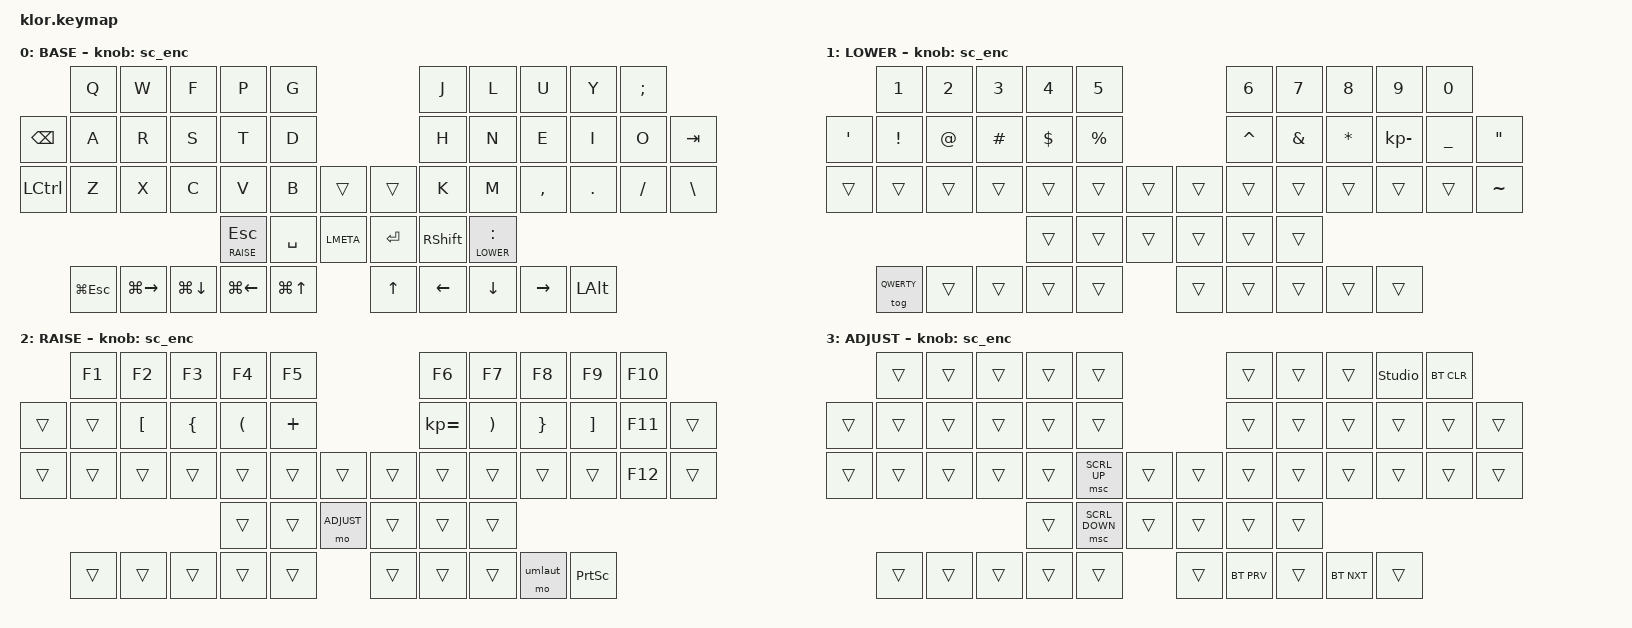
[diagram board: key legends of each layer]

//                               █         █    █            ▄▄▄▀▀▀▀▀▀▄▄▄        █▀▀▀▀▀▀▀▀▀▀█
//                               █        █     █          ▄▀            ▀▄      █          █
//                               █       █      █        ▄▀                ▀▄    █          █
//                               █      █       █        █                  █    █          █
//                               █     █        █       █                    █   █          █
//                               █    █         █       █                    █   █▄▄▄▄▄▄▄▄▄▄█
//                               █   █ █        █       █                    █   █      █
//                               █  █   █       █        █                  █    █       █
//                               █ █     █      █        ▀▄                ▄▀    █        █
//                               ██       █     █          ▀▄            ▄▀      █         █
//                               █         █    █▄▄▄▄▄▄▄▄    ▀▀▀▄▄▄▄▄▄▀▀▀        █          █
//
// ▄▄▄▄▄▄▄▄▄▄▄▄▄▄▄▄▄▄▄▄▄▄▄▄▄▄▄▄▄▄▄▄▄▄▄▄▄▄▄▄▄▄▄▄▄▄▄▄▄▄▄▄▄▄▄▄▄▄▄▄▄▄▄▄▄▄▄▄▄▄▄▄▄▄▄▄▄▄▄▄▄▄▄▄▄▄▄▄▄▄▄▄▄▄▄▄▄▄▄▄▄▄▄▄▄▄▄▄▄▄▄▄▄▄▄▄▄▄▄▄▄▄▄▄▄
       
#include <behaviors.dtsi>
#include <dt-bindings/zmk/keys.h>
#include <dt-bindings/zmk/bt.h>
#include <dt-bindings/zmk/outputs.h>
#include <dt-bindings/zmk/ext_power.h>
#include <dt-bindings/zmk/rgb.h>
#define ZMK_POINTING_DEFAULT_SCRL_VAL 15 // default is 10
#include <dt-bindings/zmk/pointing.h>


#define BASE   0
#define LOWER  1
#define RAISE  2
#define ADJUST 3
#define QWERTY 4

// remove mouse scroll speed rampup
&msc {
    time-to-max-speed-ms = <0>;
};

/ {
    behaviors {
        /* hm: homerow_mods { */
        /*     compatible = "zmk,behavior-hold-tap"; */
        /*     label = "HOMEROW_MODS"; */
        /*     #binding-cells = <2>; */
        /*     tapping-term-ms = <150>; */
        /*     quick_tap_ms = <0>; */
        /*     flavor = "tap-preferred"; */
        /*     bindings = <&kp>, <&kp>; */
        /* }; */
        sc_enc: scroll_encoder {
            compatible = "zmk,behavior-sensor-rotate";
            #sensor-binding-cells = <0>;
            bindings = <&msc SCRL_DOWN>, <&msc SCRL_UP>;
            tap-ms = <10>
        };

    };

     combos {
            compatible = "zmk,combos";
            combo_esc {
                timeout-ms = <50>;
                key-positions = <0 1>;
                bindings = <&kp ESC>;
            };
    };


        keymap {
                compatible = "zmk,keymap";
// ▄▄▄▄▄▄▄▄▄▄▄▄▄▄▄▄▄▄▄▄▄▄▄▄▄▄▄▄▄▄▄▄▄▄▄▄▄▄▄▄▄▄▄▄▄▄▄▄▄▄▄▄▄▄▄▄▄▄▄▄▄▄▄▄▄▄▄▄▄▄▄▄▄▄▄▄▄▄▄▄▄▄▄▄▄▄▄▄▄▄▄▄▄▄▄▄▄▄▄▄▄▄▄▄▄▄▄▄▄▄▄▄▄▄▄▄▄▄▄▄▄▄▄▄▄▄▄▄▄▄▄▄▄▄▄▄▄▄▄▄▄▄


                base_layer {
// ┌───────────────────────────────────────────────────────────┐
label= "BASE"                                                  ;
// └───────────────────────────────────────────────────────────┘
/*           ┌─────────┬─────────┬─────────┬─────────┬─────────┐                    ┌─────────┬─────────┬─────────┬─────────┬─────────┐
             │    Q    │    W    │    F    │    P    │    G    │                    │    J    │    L    │    U    │    Y    │    ;    │
   ┌─────────┼─────────┼─────────┼─────────┼─────────┼─────────┤                    ├─────────┼─────────┼─────────┼─────────┼─────────┼─────────┐
   │   BSPC  │    A    │    R    │    S    │    T    │    D    │                    │    H    │    N    │    E    │    I    │    O    │   TAB   │
   ├─────────┼─────────┼─────────┼─────────┼─────────┼─────────┤╭────────╮╭────────╮├─────────┼─────────┼─────────┼─────────┼─────────┼─────────┤
   │   CTRL  │    Z    │    X    │    C    │    V    │    B    ││        ││        ││    K    │    M    │    ,    │    .    │    /    │    \    │
   └─────────┴─────────┴─────────┴─────────┼─────────┼─────────┼╰────────╯╰────────╯┼─────────┼─────────┼─────────┴─────────┴─────────┴─────────┘
                                           │ESC;RAISE│  SPACE  │  LGUI   ││ RETURN  │  RSHIFT │ :;LOWER │
             ┌─────────┬─────────┬─────────┼─────────┼─────────┼─────────┘└─────────┼─────────┼─────────┼─────────┬─────────┬─────────┐
             │         │  LG+⮕   │  LG+⬇   │  LG+⬅   │  LG+⬆   │                    │  RG+⬆   │  RG+⬅   │  RG+⬇   │  RG+⮕   │  LALT   │
             └─────────┴─────────┴─────────┴─────────┴─────────┘                    └─────────┴─────────┴─────────┴─────────┴─────────┘*/
 bindings = <
 //╷         ╷         ╷         ╷         ╷         ╷         ╷         ╷╷         ╷         ╷         ╷         ╷         ╷         ╷         ╷
              &kp Q     &kp W     &kp F     &kp P     &kp G                          &kp J     &kp L     &kp U     &kp Y     &kp SEMI
    &kp BSPC  &kp A     &kp R     &kp S     &kp T     &kp D                          &kp H     &kp N     &kp E     &kp I     &kp O     &kp TAB
    &kp LCTRL  &kp Z     &kp X     &kp C    &kp V     &kp B     &trans     &trans   &kp K     &kp M     &kp COMMA &kp DOT   &kp FSLH &kp BSLH
                                            &lt RAISE ESC &kp SPACE &kp LMETA    &kp RETURN &kp RSHIFT &lt LOWER COLON
              &kp LG(ESC) &kp LG(RIGHT) &kp LG(DOWN) &kp LG(LEFT) &kp LG(UP)   &kp UP &kp LEFT &kp DOWN &kp RIGHT &kp LALT
                        >;
            sensor-bindings = <&sc_enc>;
                };

// ▄▄▄▄▄▄▄▄▄▄▄▄▄▄▄▄▄▄▄▄▄▄▄▄▄▄▄▄▄▄▄▄▄▄▄▄▄▄▄▄▄▄▄▄▄▄▄▄▄▄▄▄▄▄▄▄▄▄▄▄▄▄▄▄▄▄▄▄▄▄▄▄▄▄▄▄▄▄▄▄▄▄▄▄▄▄▄▄▄▄▄▄▄▄▄▄▄▄▄▄▄▄▄▄▄▄▄▄▄▄▄▄▄▄▄▄▄▄▄▄▄▄▄▄▄▄▄▄▄▄▄▄▄▄▄▄▄▄▄▄▄▄

                lower_layer {
// ┌───────────────────────────────────────────────────────────┐
label= "LOWER"                                                 ;
// └───────────────────────────────────────────────────────────┘
/*           ┌─────────┬─────────┬─────────┬─────────┬─────────┐                    ┌─────────┬─────────┬─────────┬─────────┬─────────┐
             │    1    │    2    │    3    │    4    │    5    │                    │    6    │    7    │    8    │    9    │    0    │
   ┌─────────┼─────────┼─────────┼─────────┼─────────┼─────────┤                    ├─────────┼─────────┼─────────┼─────────┼─────────┼─────────┐
   │    '    │    !    │    @    │    #    │    $    │    %    │                    │    ^    │    &    │    *    │    -    │    _    │    "    │
   ├─────────┼─────────┼─────────┼─────────┼─────────┼─────────┤╭────────╮╭────────╮├─────────┼─────────┼─────────┼─────────┼─────────┼─────────┤
   │         │         │         │         │         │         ││        ││        ││         │    =    │         │         │         │    ~    │
   └─────────┴─────────┴─────────┼─────────┼─────────┼─────────┼╰────────╯╰────────╯┼─────────┼─────────┼─────────┼─────────┴─────────┴─────────┘
                                 │         │         │         │         ││         │         │         │         │
             ┌─────────┬─────────┬─────────┼─────────┼─────────┼─────────┘└─────────┼─────────┼─────────┼─────────┬─────────┬─────────┐
             │         │         │         │         │         │                    │         │         │         │         │         │
             └─────────┴─────────┴─────────┴─────────┴─────────┘                    └─────────┴─────────┴─────────┴─────────┴─────────┘*/
 bindings = <
 //╷         ╷         ╷         ╷         ╷         ╷         ╷         ╷╷         ╷         ╷         ╷         ╷         ╷         ╷         ╷
            &kp N1    &kp N2    &kp N3    &kp N4    &kp N5                         &kp N6    &kp N7    &kp N8    &kp N9    &kp N0
    &kp APOS &kp EXCL &kp AT    &kp HASH  &kp DOLLAR &kp PERCENT                   &kp CARET &kp AMPS  &kp STAR  &kp KP_MINUS &kp UNDER  &kp DQT
    &trans  &trans    &trans    &trans    &trans    &trans    &trans     &trans    &trans    &trans    &trans    &trans    &trans      &kp TILDE
                                          &trans    &trans    &trans     &trans    &trans    &trans
            &tog QWERTY    &trans    &trans    &trans    &trans               &trans    &trans    &trans    &trans    &trans
                        >;
            sensor-bindings = <&sc_enc>;
        };

// ▄▄▄▄▄▄▄▄▄▄▄▄▄▄▄▄▄▄▄▄▄▄▄▄▄▄▄▄▄▄▄▄▄▄▄▄▄▄▄▄▄▄▄▄▄▄▄▄▄▄▄▄▄▄▄▄▄▄▄▄▄▄▄▄▄▄▄▄▄▄▄▄▄▄▄▄▄▄▄▄▄▄▄▄▄▄▄▄▄▄▄▄▄▄▄▄▄▄▄▄▄▄▄▄▄▄▄▄▄▄▄▄▄▄▄▄▄▄▄▄▄▄▄▄▄


                raise_layer {
// ┌───────────────────────────────────────────────────────────┐
label= "RAISE"                                                 ;
// └───────────────────────────────────────────────────────────┘
/*           ┌─────────┬─────────┬─────────┬─────────┬─────────┐                    ┌─────────┬─────────┬─────────┬─────────┬─────────┐
             │    F1   │    F2   │   F3    │  F4     │   F5    │                    │    F6   │   F7    │    F8   │   F9    │   F10   │
   ┌─────────┼─────────┼─────────┼─────────┼─────────┼─────────┤                    ├─────────┼─────────┼─────────┼─────────┼─────────┼─────────┐
   │         │         │    [    │   {     │   (     │    +    │                    │    =    │    )    │    }    │    ]    │   F11   │         │
   ├─────────┼─────────┼─────────┼─────────┼─────────┼─────────┤╭────────╮╭────────╮├─────────┼─────────┼─────────┼─────────┼─────────┼─────────┤
   │         │         │         │         │         │         ││        ││        ││         │         │         │         │   F12   │         │
   └─────────┴─────────┴─────────┼─────────┼─────────┼─────────┼╰────────╯╰────────╯┼─────────┼─────────┼─────────┼─────────┴─────────┴─────────┘
                                 │         │         │         │  ADJUST ││         │         │         │         │  
             ┌─────────┬─────────┬─────────┼─────────┼─────────┼─────────┘└─────────┼─────────┼─────────┼─────────┬─────────┬─────────┐
             │         │         │         │         │         │                    │         │         │         │  PRSCN  │         │
             └─────────┴─────────┴─────────┴─────────┴─────────┘                    └─────────┴─────────┴─────────┴─────────┴─────────┘*/
 bindings = <
 //╷         ╷         ╷         ╷         ╷         ╷         ╷         ╷╷         ╷         ╷         ╷         ╷         ╷         ╷         ╷
              &kp F1    &kp F2    &kp F3    &kp F4    &kp F5                      &kp F6    &kp F7    &kp F8    &kp F9    &kp F10
    &trans    &trans    &kp LBKT  &kp LBRC  &kp LPAR  &kp PLUS                      &kp KP_EQUAL &kp RPAR  &kp RBRC  &kp RBKT  &kp F11  &trans
    &trans    &trans    &trans    &trans    &trans    &trans    &trans     &trans    &trans    &trans    &trans    &trans    &kp F12  &trans
                                            &trans    &trans    &mo ADJUST &trans    &trans    &trans
              &trans    &trans    &trans    &trans    &trans               &trans    &trans    &trans    &mo umlaut   &kp PSCRN
                        >;
            sensor-bindings = <&sc_enc>;
                };

// ▄▄▄▄▄▄▄▄▄▄▄▄▄▄▄▄▄▄▄▄▄▄▄▄▄▄▄▄▄▄▄▄▄▄▄▄▄▄▄▄▄▄▄▄▄▄▄▄▄▄▄▄▄▄▄▄▄▄▄▄▄▄▄▄▄▄▄▄▄▄▄▄▄▄▄▄▄▄▄▄▄▄▄▄▄▄▄▄▄▄▄▄▄▄▄▄▄▄▄▄▄▄▄▄▄▄▄▄▄▄▄▄▄▄▄▄▄▄▄▄▄▄▄▄▄


                adjust_layer {
// ┌───────────────────────────────────────────────────────────┐
label= "ADJUST"                                                ;
// └───────────────────────────────────────────────────────────┘
/*           ┌─────────┬─────────┬─────────┬─────────┬─────────┐                    ┌─────────┬─────────┬─────────┬─────────┬─────────┐
             │         │         │         │         │         │                    │         │         │         │stud_unlk│  bt_clr │
   ┌─────────┼─────────┼─────────┼─────────┼─────────┼─────────┤                    ├─────────┼─────────┼─────────┼─────────┼─────────┼─────────┐
   │         │         │         │         │         │         │                    │         │         │         │         │         │         │
   ├─────────┼─────────┼─────────┼─────────┼─────────┼─────────┤╭────────╮╭────────╮├─────────┼─────────┼─────────┼─────────┼─────────┼─────────┤
   │         │         │         │         │         │         ││        ││        ││         │         │         │         │         │         │
   └─────────┴─────────┴─────────┼─────────┼─────────┼─────────┼╰────────╯╰────────╯┼─────────┼─────────┼─────────┼─────────┴─────────┴─────────┘
                                 │         │         │         │         ││         │         │         │         │  
             ┌─────────┬─────────┬─────────┼─────────┼─────────┼─────────┘└─────────┼─────────┼─────────┼─────────┬─────────┬─────────┐
             │         │         │         │         │         │                    │         │ bt_prev │         │ bt_next │         │
             └─────────┴─────────┴─────────┴─────────┴─────────┘                    └─────────┴─────────┴─────────┴─────────┴─────────┘*/
 bindings = <
 //╷         ╷         ╷         ╷         ╷         ╷         ╷         ╷╷         ╷         ╷         ╷         ╷         ╷         ╷         ╷
             &trans   &trans    &trans    &trans    &trans                         &trans    &trans    &trans    &studio_unlock &bt BT_CLR
    &trans   &trans   &trans    &trans    &trans    &trans                         &trans    &trans    &trans    &trans    &trans   &trans
    &trans   &trans   &trans    &trans    &trans    &msc SCRL_UP    &trans     &trans    &trans    &trans    &trans    &trans    &trans   &trans
                                          &trans    &msc SCRL_DOWN  &trans     &trans    &trans    &trans
            &trans    &trans    &trans    &trans    &trans               &trans    &bt BT_PRV &trans   &bt BT_NXT &trans
                        >;
            sensor-bindings = <&sc_enc>;
                };
        };

// ▄▄▄▄▄▄▄▄▄▄▄▄▄▄▄▄▄▄▄▄▄▄▄▄▄▄▄▄▄▄▄▄▄▄▄▄▄▄▄▄▄▄▄▄▄▄▄▄▄▄▄▄▄▄▄▄▄▄▄▄▄▄▄▄▄▄▄▄▄▄▄▄▄▄▄▄▄▄▄▄▄▄▄▄▄▄▄▄▄▄▄▄▄▄▄▄▄▄▄▄▄▄▄▄▄▄▄▄▄▄▄▄▄▄▄▄▄▄▄▄▄▄▄▄▄


        umlaut_layer{
// ┌───────────────────────────────────────────────────────────┐
label= "UMLAUT"                                                ;
// └───────────────────────────────────────────────────────────┘
/*           ┌─────────┬─────────┬─────────┬─────────┬─────────┐                    ┌─────────┬─────────┬─────────┬─────────┬─────────┐
             │         │         │         │         │         │                    │         │         │         │stud_unlk│  bt_clr │
   ┌─────────┼─────────┼─────────┼─────────┼─────────┼─────────┤                    ├─────────┼─────────┼─────────┼─────────┼─────────┼─────────┐
   │         │         │         │         │         │         │                    │         │         │         │         │         │         │
   ├─────────┼─────────┼─────────┼─────────┼─────────┼─────────┤╭────────╮╭────────╮├─────────┼─────────┼─────────┼─────────┼─────────┼─────────┤
   │         │         │         │         │         │         ││        ││        ││         │         │         │         │         │         │
   └─────────┴─────────┴─────────┼─────────┼─────────┼─────────┼╰────────╯╰────────╯┼─────────┼─────────┼─────────┼─────────┴─────────┴─────────┘
                                 │         │         │         │         ││         │         │         │         │  
             ┌─────────┬─────────┬─────────┼─────────┼─────────┼─────────┘└─────────┼─────────┼─────────┼─────────┬─────────┬─────────┐
             │         │         │         │         │         │                    │         │ bt_prev │         │ bt_next │         │
             └─────────┴─────────┴─────────┴─────────┴─────────┘                    └─────────┴─────────┴─────────┴─────────┴─────────┘*/
 bindings = <
 //╷         ╷         ╷         ╷         ╷         ╷         ╷         ╷╷         ╷         ╷         ╷         ╷         ╷         ╷         ╷
             &trans   &trans    &trans    &trans    &trans                         &trans    &trans    &trans    &trans    &trans
    &trans   &trans   &trans    &trans    &trans    &trans                         &trans    &trans    &trans    &trans    &trans   &trans
    &trans   &trans   &trans    &trans    &trans    &trans      &trans     &trans  &trans    &trans    &trans    &trans    &trans   &trans
                                          &trans    &trans      &trans     &trans  &trans    &trans
            &trans    &trans    &trans    &trans    &trans                 &trans  &trans    &trans    &trans    &trans
                        >;
            sensor-bindings = <&sc_enc>;
                };
        };

// ▄▄▄▄▄▄▄▄▄▄▄▄▄▄▄▄▄▄▄▄▄▄▄▄▄▄▄▄▄▄▄▄▄▄▄▄▄▄▄▄▄▄▄▄▄▄▄▄▄▄▄▄▄▄▄▄▄▄▄▄▄▄▄▄▄▄▄▄▄▄▄▄▄▄▄▄▄▄▄▄▄▄▄▄▄▄▄▄▄▄▄▄▄▄▄▄▄▄▄▄▄▄▄▄▄▄▄▄▄▄▄▄▄▄▄▄▄▄▄▄▄▄▄▄▄


                        qwerty_layer {
// ┌───────────────────────────────────────────────────────────┐
label= "QWERTY"                                                ;
// └───────────────────────────────────────────────────────────┘
/*           ┌─────────┬─────────┬─────────┬─────────┬─────────┐                    ┌─────────┬─────────┬─────────┬─────────┬─────────┐
             │         │         │         │         │         │                    │         │         │         │stud_unlk│  bt_clr │
   ┌─────────┼─────────┼─────────┼─────────┼─────────┼─────────┤                    ├─────────┼─────────┼─────────┼─────────┼─────────┼─────────┐
   │         │         │         │         │         │         │                    │         │         │         │         │         │         │
   ├─────────┼─────────┼─────────┼─────────┼─────────┼─────────┤╭────────╮╭────────╮├─────────┼─────────┼─────────┼─────────┼─────────┼─────────┤
   │         │         │         │         │         │         ││        ││        ││         │         │         │         │         │         │
   └─────────┴─────────┴─────────┼─────────┼─────────┼─────────┼╰────────╯╰────────╯┼─────────┼─────────┼─────────┼─────────┴─────────┴─────────┘
                                 │         │         │         │         ││         │         │         │         │  
             ┌─────────┬─────────┬─────────┼─────────┼─────────┼─────────┘└─────────┼─────────┼─────────┼─────────┬─────────┬─────────┐
             │         │         │         │         │         │                    │         │ bt_prev │         │ bt_next │         │
             └─────────┴─────────┴─────────┴─────────┴─────────┘                    └─────────┴─────────┴─────────┴─────────┴─────────┘*/
 bindings = <
 //╷         ╷         ╷         ╷         ╷         ╷         ╷         ╷╷         ╷         ╷         ╷         ╷         ╷         ╷         ╷
              &kp Q     &kp W     &kp E     &kp R     &kp T                          &kp Y     &kp U     &kp I     &kp O     &kp P
    &kp TAB   &kp A     &kp S     &kp D     &kp F     &kp G                          &kp H     &kp J     &kp K     &kp J     &kp SEMI   &kp TAB
    &kp LSHIFT  &kp Z   &kp X     &kp C     &kp V     &kp B     &trans     &trans   &kp N     &kp M     &kp COMMA &kp DOT   &kp FSLH &kp BSLH
                                          &trans    &msc SCRL_DOWN  &trans     &trans    &trans    &trans
            &trans    &trans    &trans    &trans    &trans               &trans    &bt BT_PRV &trans   &bt BT_NXT &trans
                        >;
            sensor-bindings = <&sc_enc>;
        };
};
